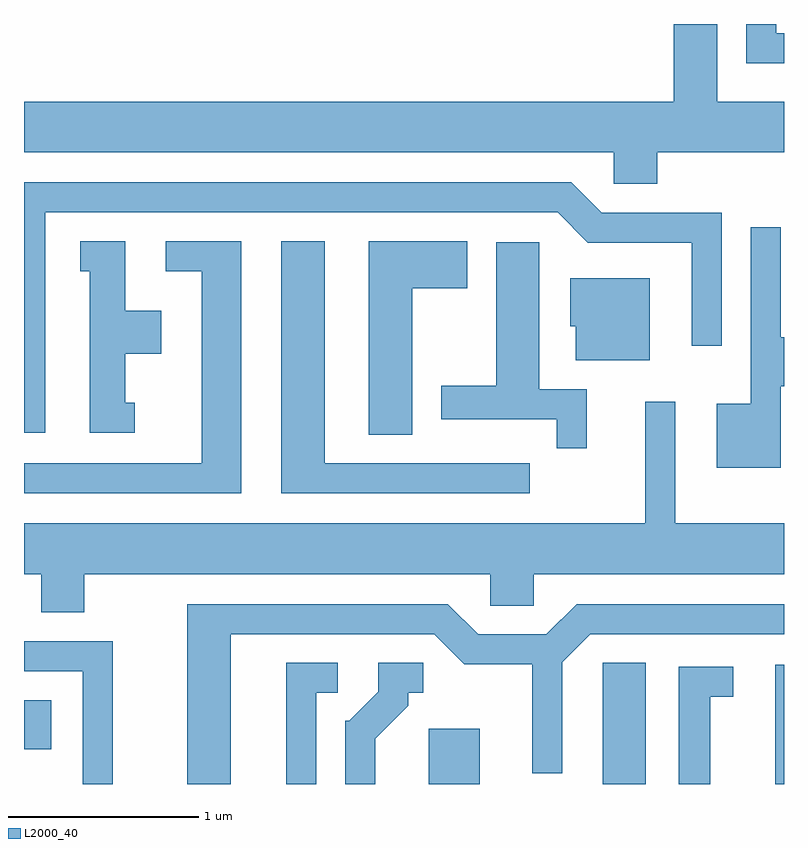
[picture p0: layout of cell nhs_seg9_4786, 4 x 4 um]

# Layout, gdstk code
import gdstk
lib = gdstk.Library(unit=1e-6, precision=1e-09)
def R(c, l, rs):  # rectangles x0, y0, x1, y1
    for r in rs: c.add(gdstk.rectangle(r[:2], r[2:], *l))
def P(c, l, *ps):  # polygons
    for p in ps: c.add(gdstk.Polygon(p, *l))
L2000_40 = (2000, 40)

nhs_seg9_4786 = lib.new_cell('nhs_seg9_4786')
R(nhs_seg9_4786, L2000_40, [(327.741,2048.432,328.009,2048.724), (328.656,2048.432,328.884,2049.069), (329.566,2048.432,329.611,2049.059), (325.611,2048.616,325.754,2048.874)])
P(nhs_seg9_4786, L2000_40, [(328.944,2051.756),(329.611,2051.756),(329.611,2052.024),(329.259,2052.024),(329.259,2052.432),(329.031,2052.432),(329.031,2052.024),(325.611,2052.024),(325.611,2051.756),(328.716,2051.756),(328.716,2051.591),(328.944,2051.591)],
  [(329.611,2052.384),(329.569,2052.384),(329.569,2052.432),(329.411,2052.432),(329.411,2052.226),(329.611,2052.226)],
  [(325.724,2051.441),(328.419,2051.441),(328.579,2051.281),(329.126,2051.281),(329.126,2050.738),(329.284,2050.738),(329.284,2051.439),(328.652,2051.439),(328.492,2051.599),(325.611,2051.599),(325.611,2050.281),(325.724,2050.281)],
  [(329.594,2050.526),(329.611,2050.526),(329.611,2050.784),(329.594,2050.784),(329.594,2051.363),(329.436,2051.363),(329.436,2050.434),(329.256,2050.434),(329.256,2050.096),(329.594,2050.096)],
  [(326.193,2050.439),(326.144,2050.439),(326.144,2050.696),(326.334,2050.696),(326.334,2050.924),(326.144,2050.924),(326.144,2051.289),(325.908,2051.289),(325.908,2051.131),(325.956,2051.131),(325.956,2050.281),(326.193,2050.281)],
  [(328.273,2050.119),(327.194,2050.119),(327.194,2051.289),(326.966,2051.289),(326.966,2049.961),(328.273,2049.961)],
  [(327.654,2051.041),(327.944,2051.041),(327.944,2051.289),(327.426,2051.289),(327.426,2050.271),(327.654,2050.271)],
  [(326.754,2051.289),(326.358,2051.289),(326.358,2051.131),(326.546,2051.131),(326.546,2050.119),(325.611,2050.119),(325.611,2049.961),(326.754,2049.961)],
  [(328.574,2050.509),(328.324,2050.509),(328.324,2051.284),(328.096,2051.284),(328.096,2050.529),(327.806,2050.529),(327.806,2050.351),(328.416,2050.351),(328.416,2050.198),(328.574,2050.198)],
  [(328.904,2051.094),(328.486,2051.094),(328.486,2050.841),(328.516,2050.841),(328.516,2050.661),(328.904,2050.661)],
  [(325.929,2049.536),(328.066,2049.536),(328.066,2049.371),(328.294,2049.371),(328.294,2049.536),(329.611,2049.536),(329.611,2049.804),(329.039,2049.804),(329.039,2050.443),(328.881,2050.443),(328.881,2049.804),(325.611,2049.804),(325.611,2049.536),(325.701,2049.536),(325.701,2049.336),(325.929,2049.336)],
  [(326.699,2049.221),(327.769,2049.221),(327.929,2049.061),(328.286,2049.061),(328.286,2048.488),(328.444,2048.488),(328.444,2049.074),(328.592,2049.221),(329.611,2049.221),(329.611,2049.379),(328.519,2049.379),(328.359,2049.219),(328.002,2049.219),(327.842,2049.379),(326.471,2049.379),(326.471,2048.432),(326.699,2048.432)],
  [(326.079,2049.184),(325.611,2049.184),(325.611,2049.026),(325.921,2049.026),(325.921,2048.432),(326.079,2048.432)],
  [(327.459,2048.669),(327.634,2048.844),(327.634,2048.911),(327.713,2048.911),(327.713,2049.069),(327.476,2049.069),(327.476,2048.917),(327.324,2048.764),(327.301,2048.764),(327.301,2048.432),(327.459,2048.432)],
  [(327.149,2048.911),(327.263,2048.911),(327.263,2049.069),(326.991,2049.069),(326.991,2048.432),(327.149,2048.432)],
  [(329.224,2048.891),(329.343,2048.891),(329.343,2049.049),(329.056,2049.049),(329.056,2048.432),(329.224,2048.432)])

lib.write_gds('nhs_seg9_4786.gds')
